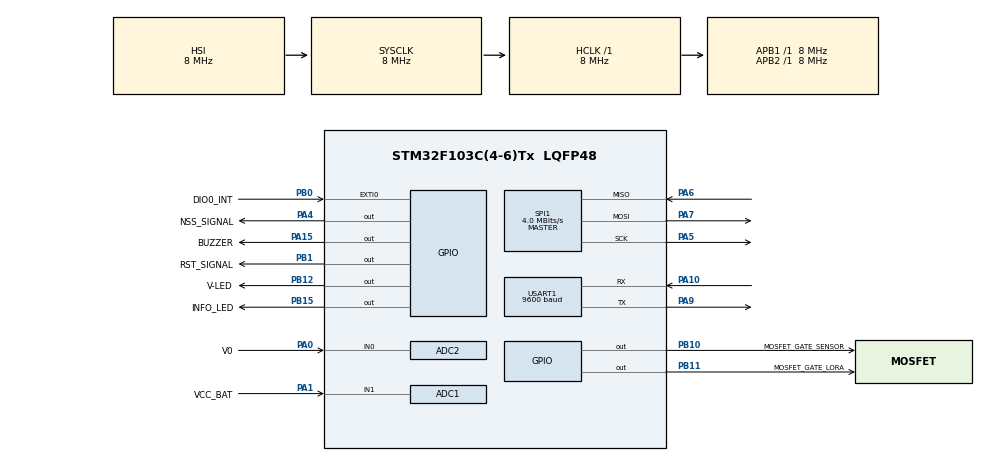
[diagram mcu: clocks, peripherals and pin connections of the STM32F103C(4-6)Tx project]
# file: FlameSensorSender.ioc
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ADC1.Channel-4\#ChannelRegularConversion=ADC_CHANNEL_1
ADC1.NbrOfConversion=1
ADC1.NbrOfConversionFlag=1
ADC1.Rank-4\#ChannelRegularConversion=1
ADC1.SamplingTime-4\#ChannelRegularConversion=ADC_SAMPLETIME_239CYCLES_5
ADC1.master=1
ADC2.Channel-2\#ChannelRegularConversion=ADC_CHANNEL_0
ADC2.ContinuousConvMode=DISABLE
ADC2.EnableRegularConversion=ENABLE
ADC2.NbrOfConversion=1
ADC2.NbrOfConversionFlag=1
ADC2.Rank-2\#ChannelRegularConversion=1
ADC2.SamplingTime-2\#ChannelRegularConversion=ADC_SAMPLETIME_13CYCLES_5
Mcu.Family=STM32F1
Mcu.Name=STM32F103C(4-6)Tx
Mcu.Package=LQFP48
NVIC.PriorityGroup=NVIC_PRIORITYGROUP_4
NVIC.RTC_IRQn=true\:0\:0\:false\:false\:true\:true\:true\:true
PA0-WKUP.GPIO_Label=V0
PA0-WKUP.Signal=ADCx_IN0
PA1.GPIO_Label=VCC_BAT
PA1.Signal=ADCx_IN1
PA10.Mode=Asynchronous
PA10.Signal=USART1_RX
PA13.Mode=Serial_Wire
PA13.Signal=SYS_JTMS-SWDIO
PA14.Mode=Serial_Wire
PA14.Signal=SYS_JTCK-SWCLK
PA15.GPIO_Label=BUZZER
PA15.Signal=GPIO_Output
PA4.GPIO_Label=NSS_SIGNAL
PA4.GPIO_PuPd=GPIO_PULLUP
PA4.PinState=GPIO_PIN_SET
PA4.Signal=GPIO_Output
PA5.Mode=Full_Duplex_Master
PA5.Signal=SPI1_SCK
PA6.Mode=Full_Duplex_Master
PA6.Signal=SPI1_MISO
PA7.Mode=Full_Duplex_Master
PA7.Signal=SPI1_MOSI
PA9.Mode=Asynchronous
PA9.Signal=USART1_TX
PB0.GPIO_Label=DIO0_INT
PB0.Signal=GPXTI0
PB1.GPIO_Label=RST_SIGNAL
PB1.GPIO_PuPd=GPIO_PULLDOWN
PB1.PinState=GPIO_PIN_SET
PB1.Signal=GPIO_Output
PB10.GPIO_Label=MOSFET_GATE_SENSOR
PB10.GPIO_PuPd=GPIO_PULLDOWN
PB10.PinState=GPIO_PIN_RESET
PB10.Signal=GPIO_Output
PB11.GPIO_Label=MOSFET_GATE_LORA
PB11.GPIO_PuPd=GPIO_PULLUP
PB11.PinState=GPIO_PIN_SET
PB11.Signal=GPIO_Output
PB12.GPIO_Label=V-LED
PB12.GPIO_ModeDefaultOutputPP=GPIO_MODE_OUTPUT_PP
PB12.GPIO_PuPd=GPIO_NOPULL
PB12.GPIO_Speed=GPIO_SPEED_FREQ_HIGH
PB12.PinState=GPIO_PIN_SET
PB12.Signal=GPIO_Output
PB15.GPIO_Label=INFO_LED
PB15.GPIO_PuPd=GPIO_PULLDOWN
PB15.Signal=GPIO_Output
PC14-OSC32_IN.Mode=LSE-External-Oscillator
PC14-OSC32_IN.Signal=RCC_OSC32_IN
PC15-OSC32_OUT.Mode=LSE-External-Oscillator
PC15-OSC32_OUT.Signal=RCC_OSC32_OUT
ProjectManager.HeapSize=0x200
ProjectManager.StackSize=0x400
ProjectManager.TargetToolchain=STM32CubeIDE
RCC.AHBFreq_Value=8000000
RCC.APB1Freq_Value=8000000
RCC.APB1TimFreq_Value=8000000
RCC.APB2Freq_Value=8000000
RCC.APB2TimFreq_Value=8000000
RCC.HCLKFreq_Value=8000000
RCC.SYSCLKFreq_VALUE=8000000
RCC.USBFreq_Value=8000000
RTC.Format=RTC_FORMAT_BIN
SH.ADCx_IN0.0=ADC2_IN0,IN0
SH.ADCx_IN1.0=ADC1_IN1,IN1
SPI1.BaudRatePrescaler=SPI_BAUDRATEPRESCALER_2
SPI1.CalculateBaudRate=4.0 MBits/s
SPI1.Direction=SPI_DIRECTION_2LINES
SPI1.Mode=SPI_MODE_MASTER
SPI1.VirtualType=VM_MASTER
TIM2.AutoReloadPreload=TIM_AUTORELOAD_PRELOAD_DISABLE
TIM2.Period=65535
TIM2.Prescaler=7
USART1.BaudRate=9600
USART1.VirtualMode=VM_ASYNC
VP_RTC_No_RTC_Output.Mode=RTC_OUT_NO
VP_RTC_VS_RTC_Activate.Mode=RTC_Enabled
VP_TIM2_VS_ClockSourceINT.Mode=Internal
board=custom

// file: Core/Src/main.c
/* USER CODE BEGIN Header */
/**
 ******************************************************************************
 * @file           : main.c
 * @brief          : Main program body
 ******************************************************************************
 * @attention
 *
 * Copyright (c) 2025 STMicroelectronics.
 * All rights reserved.
 *
 * This software is licensed under terms that can be found in the LICENSE file
 * in the root directory of this software component.
 * If no LICENSE file comes with this software, it is provided AS-IS.
 *
 ******************************************************************************
 */
/* USER CODE END Header */
#include "main.h"

/* USER CODE BEGIN Includes */
#include <stdio.h>
#include "DebugLog.h"
#include "Types.h"
#include "LoraSender.h"
#include "AlarmReset.h"
#include "SerialNumber.h"
#include "BatteryLevel.h"
#include "InfraSensor.h"
#include "BackupReg.h"
#include <stdbool.h>
#include "DataStorage.h"

/* USER CODE END Includes */

ADC_HandleTypeDef hadc1;
ADC_HandleTypeDef hadc2;

RTC_HandleTypeDef hrtc;

SPI_HandleTypeDef hspi1;

TIM_HandleTypeDef htim2;

UART_HandleTypeDef huart1;

void SystemClock_Config(void);
static void MX_GPIO_Init(void);
static void MX_SPI1_Init(void);
static void MX_RTC_Init(void);
static void MX_ADC1_Init(void);
static void MX_ADC2_Init(void);
static void MX_TIM2_Init(void);
static void MX_USART1_UART_Init(void);

int main(void) {

	/* MCU Configuration--------------------------------------------------------*/

	/* Reset of all peripherals, Initializes the Flash interface and the Systick. */
	HAL_Init();

	/* Configure the system clock */
	SystemClock_Config();

	/* Initialize all configured peripherals */
	MX_GPIO_Init();
	MX_RTC_Init();
	MX_TIM2_Init();
	MX_USART1_UART_Init();
	/* USER CODE BEGIN 2 */

	Settings_t settings;
	SerialNumber_t hw_serial;
	Battery_t Battery;
	SendPacket_t packet;

	bool ALERT_FLAG = false;

	debug_init(&huart1);

	debug("========================");
	debug("The device has woken up!");

	settings = retrieveSettingsFromFlash();

	debug("\tAlarm level: %d.%02d", (uint8_t) settings.alarm_level,
			(uint8_t) (settings.alarm_level * 100) % 100);
	debug("\tSleep time: %d sec", settings.sleep_time);
	debug("\tHeartbeat every: %d time\n\r", settings.times_to_heartbeat);

	MX_ADC1_Init();
	Battery = get_battery_level(&hadc1);
	HAL_ADC_DeInit(&hadc1);

	// Powering VCC to Smoke Sensor and polling for data
	HAL_GPIO_WritePin(GPIOB, MOSFET_GATE_SENSOR_Pin, GPIO_PIN_RESET);
	MX_ADC2_Init();
	float sensor_data = get_infra_sensor_data(&hadc2);
	if (sensor_data >= settings.alarm_level)
		ALERT_FLAG = true;
	HAL_ADC_DeInit(&hadc2);
	HAL_GPIO_WritePin(GPIOB, MOSFET_GATE_SENSOR_Pin, GPIO_PIN_SET);

	init_backup_register();
	uint8_t backup_reg_current_value = read_backup_register();
	debug("Sleeps to heartbeat: %d of %d\n\r", backup_reg_current_value + 1,
			settings.times_to_heartbeat);

	if ((backup_reg_current_value + 1 >= settings.times_to_heartbeat)
			|| ALERT_FLAG) {

		hw_serial = get_serial_number();

		packet.ID = hw_serial.byte_2;
		packet.battery_level = Battery.charge_percent;
		packet.sensor_data = sensor_data;
		debug("Formed packet:");
		debug("\tID: %d", (uint8_t) packet.ID);
		debug("\tbattery_level: %d%%", (uint8_t) Battery.charge_percent);
		debug("\tsensor_data: %d.%02d\n\r", (uint8_t) sensor_data,
				(uint16_t) (sensor_data * 100) % 100);

		// LoRa
		HAL_GPIO_WritePin(GPIOB, MOSFET_GATE_LORA_Pin, GPIO_PIN_RESET);
		MX_SPI1_Init();
		HAL_Delay(100);
		send_packet(&hspi1, packet);
		HAL_GPIO_WritePin(GPIOB, MOSFET_GATE_LORA_Pin, GPIO_PIN_SET);

		write_backup_register(0);
	} else {
		write_backup_register(++backup_reg_current_value);
	}

	if (ALERT_FLAG) {
		debug("\n\rBUZZ BUZZ BUZZ\n\r\n\r");
		settings.sleep_time = 1;
	}

	//  Toggling RED LED
	HAL_GPIO_WritePin(INFO_LED_GPIO_Port, INFO_LED_Pin, GPIO_PIN_SET);
	HAL_Delay(1);
	HAL_GPIO_WritePin(INFO_LED_GPIO_Port, INFO_LED_Pin, GPIO_PIN_RESET);

	// Sleeping
	set_alarm(&hrtc, settings.sleep_time);

	debug("Going STANDBY MODE\n\r\n\r");
	HAL_PWR_EnterSTANDBYMode();

	/* USER CODE END 2 */

	/* Infinite loop */
	while (1) {

	}
}

void SystemClock_Config(void) {
	RCC_OscInitTypeDef RCC_OscInitStruct = { 0 };
	RCC_ClkInitTypeDef RCC_ClkInitStruct = { 0 };
	RCC_PeriphCLKInitTypeDef PeriphClkInit = { 0 };

	/** Initializes the RCC Oscillators according to the specified parameters
	 * in the RCC_OscInitTypeDef structure.
	 */
	RCC_OscInitStruct.OscillatorType = RCC_OSCILLATORTYPE_HSI
			| RCC_OSCILLATORTYPE_LSI;
	RCC_OscInitStruct.HSIState = RCC_HSI_ON;
	RCC_OscInitStruct.HSICalibrationValue = RCC_HSICALIBRATION_DEFAULT;
	RCC_OscInitStruct.LSIState = RCC_LSI_ON;
	RCC_OscInitStruct.PLL.PLLState = RCC_PLL_NONE;
	if (HAL_RCC_OscConfig(&RCC_OscInitStruct) != HAL_OK) {
		Error_Handler();
	}

	/** Initializes the CPU, AHB and APB buses clocks
	 */
	RCC_ClkInitStruct.ClockType = RCC_CLOCKTYPE_HCLK | RCC_CLOCKTYPE_SYSCLK
			| RCC_CLOCKTYPE_PCLK1 | RCC_CLOCKTYPE_PCLK2;
	RCC_ClkInitStruct.SYSCLKSource = RCC_SYSCLKSOURCE_HSI;
	RCC_ClkInitStruct.AHBCLKDivider = RCC_SYSCLK_DIV1;
	RCC_ClkInitStruct.APB1CLKDivider = RCC_HCLK_DIV1;
	RCC_ClkInitStruct.APB2CLKDivider = RCC_HCLK_DIV1;

	if (HAL_RCC_ClockConfig(&RCC_ClkInitStruct, FLASH_LATENCY_0) != HAL_OK) {
		Error_Handler();
	}
	PeriphClkInit.PeriphClockSelection = RCC_PERIPHCLK_RTC | RCC_PERIPHCLK_ADC;
	PeriphClkInit.RTCClockSelection = RCC_RTCCLKSOURCE_LSI;
	PeriphClkInit.AdcClockSelection = RCC_ADCPCLK2_DIV2;
	if (HAL_RCCEx_PeriphCLKConfig(&PeriphClkInit) != HAL_OK) {
		Error_Handler();
	}
}

static void MX_ADC1_Init(void) {

	ADC_ChannelConfTypeDef sConfig = { 0 };

	/** Common config
	 */
	hadc1.Instance = ADC1;
	hadc1.Init.ScanConvMode = ADC_SCAN_DISABLE;
	hadc1.Init.ContinuousConvMode = DISABLE;
	hadc1.Init.DiscontinuousConvMode = DISABLE;
	hadc1.Init.ExternalTrigConv = ADC_SOFTWARE_START;
	hadc1.Init.DataAlign = ADC_DATAALIGN_RIGHT;
	hadc1.Init.NbrOfConversion = 1;
	if (HAL_ADC_Init(&hadc1) != HAL_OK) {
		Error_Handler();
	}

	/** Configure Regular Channel
	 */
	sConfig.Channel = ADC_CHANNEL_1;
	sConfig.Rank = ADC_REGULAR_RANK_1;
	sConfig.SamplingTime = ADC_SAMPLETIME_239CYCLES_5;
	if (HAL_ADC_ConfigChannel(&hadc1, &sConfig) != HAL_OK) {
		Error_Handler();
	}

}

static void MX_ADC2_Init(void) {

	ADC_ChannelConfTypeDef sConfig = { 0 };

	/** Common config
	 */
	hadc2.Instance = ADC2;
	hadc2.Init.ScanConvMode = ADC_SCAN_DISABLE;
	hadc2.Init.ContinuousConvMode = DISABLE;
	hadc2.Init.DiscontinuousConvMode = DISABLE;
	hadc2.Init.ExternalTrigConv = ADC_SOFTWARE_START;
	hadc2.Init.DataAlign = ADC_DATAALIGN_RIGHT;
	hadc2.Init.NbrOfConversion = 1;
	if (HAL_ADC_Init(&hadc2) != HAL_OK) {
		Error_Handler();
	}

	/** Configure Regular Channel
	 */
	sConfig.Channel = ADC_CHANNEL_0;
	sConfig.Rank = ADC_REGULAR_RANK_1;
	sConfig.SamplingTime = ADC_SAMPLETIME_13CYCLES_5;
	if (HAL_ADC_ConfigChannel(&hadc2, &sConfig) != HAL_OK) {
		Error_Handler();
	}

}

static void MX_RTC_Init(void) {

	RTC_TimeTypeDef sTime = { 0 };
	RTC_DateTypeDef DateToUpdate = { 0 };

	/** Initialize RTC Only
	 */
	hrtc.Instance = RTC;
	hrtc.Init.AsynchPrediv = RTC_AUTO_1_SECOND;
	hrtc.Init.OutPut = RTC_OUTPUTSOURCE_NONE;
	if (HAL_RTC_Init(&hrtc) != HAL_OK) {
		Error_Handler();
	}

	/** Initialize RTC and set the Time and Date
	 */
	sTime.Hours = 0;
	sTime.Minutes = 0;
	sTime.Seconds = 0;

	if (HAL_RTC_SetTime(&hrtc, &sTime, RTC_FORMAT_BIN) != HAL_OK) {
		Error_Handler();
	}
	DateToUpdate.WeekDay = RTC_WEEKDAY_MONDAY;
	DateToUpdate.Month = RTC_MONTH_JANUARY;
	DateToUpdate.Date = 1;
	DateToUpdate.Year = 0;

	if (HAL_RTC_SetDate(&hrtc, &DateToUpdate, RTC_FORMAT_BIN) != HAL_OK) {
		Error_Handler();
	}

}

static void MX_SPI1_Init(void) {

	/* SPI1 parameter configuration*/
	hspi1.Instance = SPI1;
	hspi1.Init.Mode = SPI_MODE_MASTER;
	hspi1.Init.Direction = SPI_DIRECTION_2LINES;
	hspi1.Init.DataSize = SPI_DATASIZE_8BIT;
	hspi1.Init.CLKPolarity = SPI_POLARITY_LOW;
	hspi1.Init.CLKPhase = SPI_PHASE_1EDGE;
	hspi1.Init.NSS = SPI_NSS_SOFT;
	hspi1.Init.BaudRatePrescaler = SPI_BAUDRATEPRESCALER_2;
	hspi1.Init.FirstBit = SPI_FIRSTBIT_MSB;
	hspi1.Init.TIMode = SPI_TIMODE_DISABLE;
	hspi1.Init.CRCCalculation = SPI_CRCCALCULATION_DISABLE;
	hspi1.Init.CRCPolynomial = 10;
	if (HAL_SPI_Init(&hspi1) != HAL_OK) {
		Error_Handler();
	}

}

static void MX_TIM2_Init(void) {

	TIM_ClockConfigTypeDef sClockSourceConfig = { 0 };
	TIM_MasterConfigTypeDef sMasterConfig = { 0 };

	htim2.Instance = TIM2;
	htim2.Init.Prescaler = 7;
	htim2.Init.CounterMode = TIM_COUNTERMODE_UP;
	htim2.Init.Period = 65535;
	htim2.Init.ClockDivision = TIM_CLOCKDIVISION_DIV1;
	htim2.Init.AutoReloadPreload = TIM_AUTORELOAD_PRELOAD_DISABLE;
	if (HAL_TIM_Base_Init(&htim2) != HAL_OK) {
		Error_Handler();
	}
	sClockSourceConfig.ClockSource = TIM_CLOCKSOURCE_INTERNAL;
	if (HAL_TIM_ConfigClockSource(&htim2, &sClockSourceConfig) != HAL_OK) {
		Error_Handler();
	}
	sMasterConfig.MasterOutputTrigger = TIM_TRGO_RESET;
	sMasterConfig.MasterSlaveMode = TIM_MASTERSLAVEMODE_DISABLE;
	if (HAL_TIMEx_MasterConfigSynchronization(&htim2, &sMasterConfig)
			!= HAL_OK) {
		Error_Handler();
	}

}

static void MX_USART1_UART_Init(void) {

	huart1.Instance = USART1;
	huart1.Init.BaudRate = 9600;
	huart1.Init.WordLength = UART_WORDLENGTH_8B;
	huart1.Init.StopBits = UART_STOPBITS_1;
	huart1.Init.Parity = UART_PARITY_NONE;
	huart1.Init.Mode = UART_MODE_TX_RX;
	huart1.Init.HwFlowCtl = UART_HWCONTROL_NONE;
	huart1.Init.OverSampling = UART_OVERSAMPLING_16;
	if (HAL_UART_Init(&huart1) != HAL_OK) {
		Error_Handler();
	}

}

static void MX_GPIO_Init(void) {
	GPIO_InitTypeDef GPIO_InitStruct = { 0 };

	/* GPIO Ports Clock Enable */
	__HAL_RCC_GPIOC_CLK_ENABLE();
	__HAL_RCC_GPIOD_CLK_ENABLE();
	__HAL_RCC_GPIOA_CLK_ENABLE();
	__HAL_RCC_GPIOB_CLK_ENABLE();

	/*Configure GPIO pin Output Level */
	HAL_GPIO_WritePin(NSS_SIGNAL_GPIO_Port, NSS_SIGNAL_Pin, GPIO_PIN_SET);

	/*Configure GPIO pin Output Level */
	HAL_GPIO_WritePin(GPIOB,
	RST_SIGNAL_Pin | MOSFET_GATE_SENSOR_Pin | MOSFET_GATE_LORA_Pin | V_LED_Pin,
			GPIO_PIN_SET);

	/*Configure GPIO pin Output Level */
	HAL_GPIO_WritePin(INFO_LED_GPIO_Port, INFO_LED_Pin, GPIO_PIN_RESET);

	/*Configure GPIO pin : PC13 */
	GPIO_InitStruct.Pin = GPIO_PIN_13;
	GPIO_InitStruct.Mode = GPIO_MODE_ANALOG;
	HAL_GPIO_Init(GPIOC, &GPIO_InitStruct);

	/*Configure GPIO pins : PD0 PD1 */
	GPIO_InitStruct.Pin = GPIO_PIN_0 | GPIO_PIN_1;
	GPIO_InitStruct.Mode = GPIO_MODE_ANALOG;
	HAL_GPIO_Init(GPIOD, &GPIO_InitStruct);

	/*Configure GPIO pins : PA2 PA3 PA8 PA11
	 PA12 PA15 */
	GPIO_InitStruct.Pin = GPIO_PIN_2 | GPIO_PIN_3 | GPIO_PIN_8 | GPIO_PIN_11
			| GPIO_PIN_12 | GPIO_PIN_15;
	GPIO_InitStruct.Mode = GPIO_MODE_ANALOG;
	HAL_GPIO_Init(GPIOA, &GPIO_InitStruct);

	/*Configure GPIO pin : NSS_SIGNAL_Pin */
	GPIO_InitStruct.Pin = NSS_SIGNAL_Pin;
	GPIO_InitStruct.Mode = GPIO_MODE_OUTPUT_PP;
	GPIO_InitStruct.Pull = GPIO_PULLUP;
	GPIO_InitStruct.Speed = GPIO_SPEED_FREQ_LOW;
	HAL_GPIO_Init(NSS_SIGNAL_GPIO_Port, &GPIO_InitStruct);

	/*Configure GPIO pin : DIO0_INT_Pin */
	GPIO_InitStruct.Pin = DIO0_INT_Pin;
	GPIO_InitStruct.Mode = GPIO_MODE_IT_RISING;
	GPIO_InitStruct.Pull = GPIO_NOPULL;
	HAL_GPIO_Init(DIO0_INT_GPIO_Port, &GPIO_InitStruct);

	/*Configure GPIO pins : RST_SIGNAL_Pin INFO_LED_Pin */
	GPIO_InitStruct.Pin = RST_SIGNAL_Pin | INFO_LED_Pin;
	GPIO_InitStruct.Mode = GPIO_MODE_OUTPUT_PP;
	GPIO_InitStruct.Pull = GPIO_PULLDOWN;
	GPIO_InitStruct.Speed = GPIO_SPEED_FREQ_LOW;
	HAL_GPIO_Init(GPIOB, &GPIO_InitStruct);

	/*Configure GPIO pins : PB2 PB13 PB14 PB3
	 PB4 PB5 PB6 PB7
	 PB8 PB9 */
	GPIO_InitStruct.Pin = GPIO_PIN_2 | GPIO_PIN_13 | GPIO_PIN_14 | GPIO_PIN_3
			| GPIO_PIN_4 | GPIO_PIN_5 | GPIO_PIN_6 | GPIO_PIN_7 | GPIO_PIN_8
			| GPIO_PIN_9;
	GPIO_InitStruct.Mode = GPIO_MODE_ANALOG;
	HAL_GPIO_Init(GPIOB, &GPIO_InitStruct);

	/*Configure GPIO pins : MOSFET_GATE_SENSOR_Pin MOSFET_GATE_LORA_Pin */
	GPIO_InitStruct.Pin = MOSFET_GATE_SENSOR_Pin | MOSFET_GATE_LORA_Pin;
	GPIO_InitStruct.Mode = GPIO_MODE_OUTPUT_PP;
	GPIO_InitStruct.Pull = GPIO_PULLUP;
	GPIO_InitStruct.Speed = GPIO_SPEED_FREQ_LOW;
	HAL_GPIO_Init(GPIOB, &GPIO_InitStruct);

	/*Configure GPIO pin : V_LED_Pin */
	GPIO_InitStruct.Pin = V_LED_Pin;
	GPIO_InitStruct.Mode = GPIO_MODE_OUTPUT_PP;
	GPIO_InitStruct.Pull = GPIO_NOPULL;
	GPIO_InitStruct.Speed = GPIO_SPEED_FREQ_HIGH;
	HAL_GPIO_Init(V_LED_GPIO_Port, &GPIO_InitStruct);

	/*Configure peripheral I/O remapping */
	__HAL_AFIO_REMAP_PD01_ENABLE();

}

void Error_Handler(void) {
	__disable_irq();
	while (1) {
	}
}
